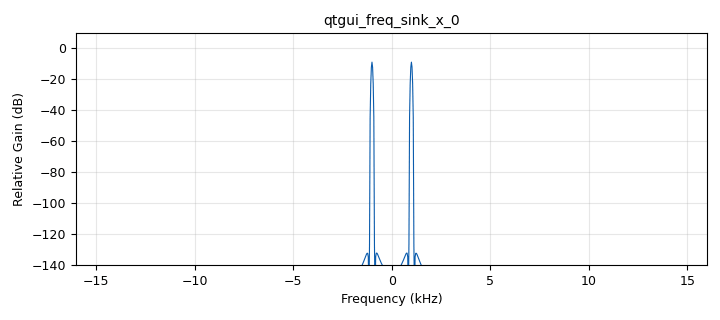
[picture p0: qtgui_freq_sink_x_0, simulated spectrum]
options:
  parameters:
    author: maheswaran
    generate_options: qt_gui
    id: samp_single_tone
    output_language: python
    title: Not titled yet
  states: {}

blocks:
- name: fm
  id: variable_qtgui_range
  parameters:
    start: 1e3
    step: 1e3
    stop: samp_rate*3
    value: 1e3
  states: {}
- name: fm
  id: variable
  parameters:
    value: 75e3
  states: {state: disabled}
- name: samp_rate
  id: variable
  parameters:
    value: '32000'
  states: {}
- name: analog_sig_source_x_0_0
  id: analog_sig_source_x
  parameters:
    amp: '2'
    freq: fm
    offset: '0'
    phase: '0'
    samp_rate: samp_rate
    type: float
    waveform: analog.GR_COS_WAVE
  states: {}
- name: blocks_throttle2_0
  id: blocks_throttle2
  parameters:
    samples_per_second: samp_rate
    type: float
  states: {}
- name: qtgui_freq_sink_x_0
  id: qtgui_freq_sink_x
  parameters:
    bw: samp_rate
    fc: '0'
    fftsize: '1024'
    type: float
  states: {}
- name: qtgui_time_sink_x_0
  id: qtgui_time_sink_x
  parameters:
    size: '1024'
    srate: samp_rate
    type: float
  states: {state: disabled}

connections:
- [analog_sig_source_x_0_0, '0', blocks_throttle2_0, '0']
- [blocks_throttle2_0, '0', qtgui_freq_sink_x_0, '0']

metadata:
  file_format: 1
  grc_version: 3.10.10.0
